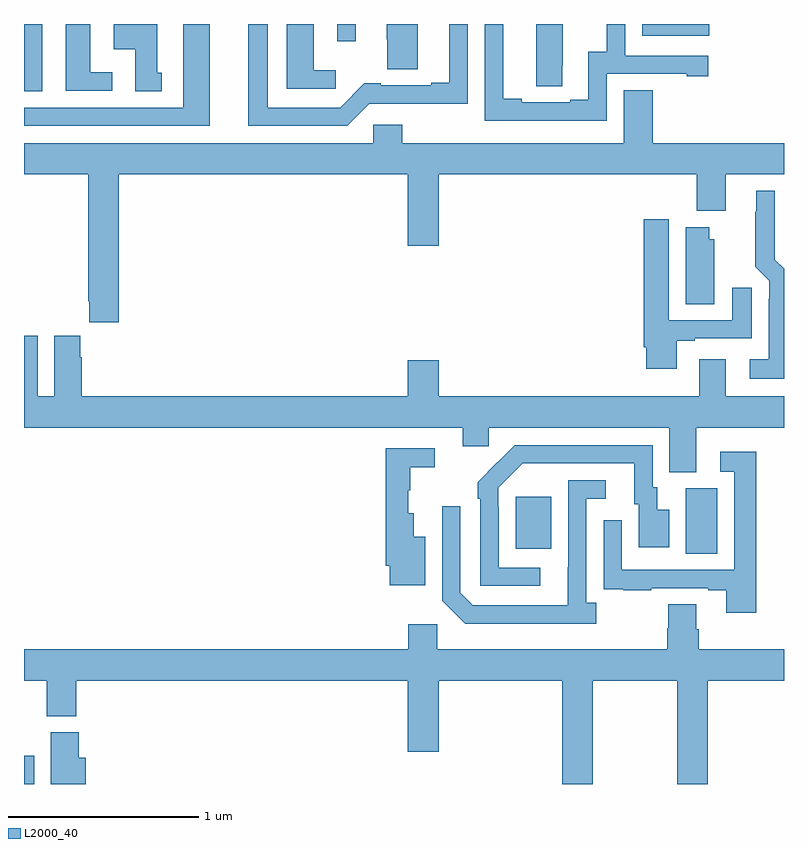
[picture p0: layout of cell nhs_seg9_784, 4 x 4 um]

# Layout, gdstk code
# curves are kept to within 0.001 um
import gdstk
lib = gdstk.Library(unit=1e-6, precision=1e-09)
def R(c, l, rs):  # rectangles x0, y0, x1, y1
    for r in rs: c.add(gdstk.rectangle(r[:2], r[2:], *l))
def P(c, l, *ps):  # polygons
    for p in ps: c.add(gdstk.Polygon(p, *l))
L2000_40 = (2000, 40)

nhs_seg9_784 = lib.new_cell('nhs_seg9_784')
R(nhs_seg9_784, L2000_40, [(151,1238.5,151.054,1238.65), (154.484,1239.712,154.648,1240.056), (153.587,1239.737,153.775,1240.012), (151,1242.145,151.096,1242.5), (152.649,1242.408,152.746,1242.5), (154.254,1242.437,154.606,1242.5)])
P(nhs_seg9_784, L2000_40, [(151.978,1242.5),(151.838,1242.5),(151.838,1242.06),(151,1242.06),(151,1241.964),(151.978,1241.964)],
  [(152.817,1242.081),(153.336,1242.08),(153.336,1242.5),(153.239,1242.5),(153.239,1242.19),(153.143,1242.19),(153.143,1242.177),(152.878,1242.177),(152.878,1242.188),(152.792,1242.188),(152.664,1242.06),(152.284,1242.06),(152.284,1242.5),(152.18,1242.5),(152.18,1241.964),(152.7,1241.964)],
  [(153.073,1242.5),(152.909,1242.5),(152.909,1242.42),(152.911,1242.42),(152.911,1242.262),(153.073,1242.262)],
  [(153.834,1242.28),(153.835,1242.28),(153.835,1242.5),(153.695,1242.5),(153.695,1242.172),(153.834,1242.172)],
  [(151.465,1242.246),(151.348,1242.246),(151.348,1242.5),(151.22,1242.5),(151.22,1242.15),(151.465,1242.15)],
  [(151.726,1242.243),(151.702,1242.243),(151.702,1242.5),(151.472,1242.5),(151.472,1242.368),(151.586,1242.368),(151.586,1242.145),(151.726,1242.145)],
  [(152.641,1242.256),(152.524,1242.256),(152.524,1242.5),(152.384,1242.5),(152.384,1242.159),(152.641,1242.159)],
  [(154.068,1242.237),(154.487,1242.237),(154.487,1242.225),(154.6,1242.225),(154.6,1242.333),(154.164,1242.333),(154.164,1242.5),(154.066,1242.5),(154.066,1242.353),(153.971,1242.353),(153.971,1242.102),(153.875,1242.102),(153.875,1242.087),(153.619,1242.087),(153.619,1242.107),(153.523,1242.107),(153.523,1242.5),(153.426,1242.5),(153.426,1241.991),(154.068,1241.991)],
  [(151.499,1241.708),(153.02,1241.708),(153.02,1241.334),(153.184,1241.334),(153.184,1241.708),(154.541,1241.708),(154.541,1241.516),(154.693,1241.516),(154.693,1241.708),(155,1241.708),(155,1241.872),(154.31,1241.872),(154.31,1242.152),(154.157,1242.152),(154.157,1241.872),(152.99,1241.872),(152.99,1241.97),(152.838,1241.97),(152.838,1241.872),(151,1241.872),(151,1241.708),(151.339,1241.708),(151.339,1241.041),(151.343,1241.041),(151.343,1240.929),(151.499,1240.929)],
  [(155,1241.211),(154.951,1241.26),(154.951,1241.623),(154.853,1241.623),(154.853,1241.513),(154.849,1241.513),(154.849,1241.222),(154.923,1241.148),(154.923,1241.054),(154.919,1241.054),(154.919,1240.735),(154.821,1240.735),(154.821,1240.634),(155,1240.634)],
  [(154.435,1240.833),(154.531,1240.833),(154.531,1240.845),(154.831,1240.845),(154.831,1241.113),(154.727,1241.113),(154.727,1240.941),(154.393,1240.941),(154.393,1241.473),(154.262,1241.473),(154.262,1240.798),(154.274,1240.798),(154.274,1240.686),(154.435,1240.686)],
  [(154.633,1241.367),(154.606,1241.367),(154.606,1241.431),(154.484,1241.431),(154.484,1241.026),(154.633,1241.026)],
  [(154.537,1240.376),(155,1240.376),(155,1240.54),(154.693,1240.54),(154.693,1240.735),(154.553,1240.735),(154.553,1240.54),(153.184,1240.54),(153.184,1240.729),(153.02,1240.729),(153.02,1240.54),(151.304,1240.54),(151.304,1240.745),(151.297,1240.745),(151.297,1240.858),(151.16,1240.858),(151.16,1240.54),(151.072,1240.54),(151.072,1240.858),(151,1240.858),(151,1240.376),(153.308,1240.376),(153.308,1240.278),(153.447,1240.278),(153.447,1240.376),(154.397,1240.376),(154.397,1240.141),(154.537,1240.141)],
  [(153.718,1239.639),(153.498,1239.639),(153.498,1239.959),(153.495,1239.959),(153.495,1240.059),(153.624,1240.188),(154.211,1240.188),(154.211,1239.972),(154.235,1239.972),(154.235,1239.747),(154.396,1239.747),(154.396,1239.943),(154.333,1239.943),(154.333,1240.062),(154.308,1240.062),(154.308,1240.284),(153.584,1240.284),(153.387,1240.089),(153.387,1240.001),(153.402,1240.001),(153.402,1239.543),(153.718,1239.543)],
  [(153.112,1239.802),(153.052,1239.802),(153.052,1239.925),(153.023,1239.925),(153.023,1240.047),(153.034,1240.047),(153.034,1240.168),(153.163,1240.168),(153.163,1240.266),(152.905,1240.266),(152.905,1239.649),(152.924,1239.649),(152.924,1239.545),(153.112,1239.545)],
  [(154.853,1240.249),(154.665,1240.249),(154.665,1240.143),(154.737,1240.143),(154.737,1239.627),(154.146,1239.627),(154.146,1239.889),(154.05,1239.889),(154.05,1239.634),(154.051,1239.634),(154.051,1239.525),(154.153,1239.525),(154.153,1239.519),(154.301,1239.519),(154.301,1239.531),(154.601,1239.531),(154.601,1239.519),(154.697,1239.519),(154.697,1239.402),(154.853,1239.402)],
  [(154.012,1239.454),(153.96,1239.454),(153.96,1240.002),(154.063,1240.002),(154.063,1240.098),(153.864,1240.098),(153.863,1239.441),(153.363,1239.441),(153.297,1239.507),(153.297,1239.961),(153.201,1239.961),(153.201,1239.465),(153.322,1239.344),(154.012,1239.344)],
  [(153.993,1239.044),(154.438,1239.044),(154.438,1238.5),(154.598,1238.5),(154.598,1239.044),(155,1239.044),(155,1239.208),(154.55,1239.208),(154.55,1239.314),(154.537,1239.314),(154.537,1239.446),(154.39,1239.446),(154.39,1239.321),(154.385,1239.321),(154.385,1239.208),(153.174,1239.208),(153.174,1239.34),(153.023,1239.34),(153.023,1239.208),(151,1239.208),(151,1239.044),(151.121,1239.044),(151.121,1238.857),(151.274,1238.857),(151.274,1239.044),(153.02,1239.044),(153.02,1238.67),(153.184,1238.67),(153.184,1239.044),(153.833,1239.044),(153.833,1238.5),(153.993,1238.5)],
  [(151.324,1238.638),(151.289,1238.638),(151.289,1238.772),(151.142,1238.772),(151.142,1238.5),(151.324,1238.5)])

lib.write_gds('nhs_seg9_784.gds')
